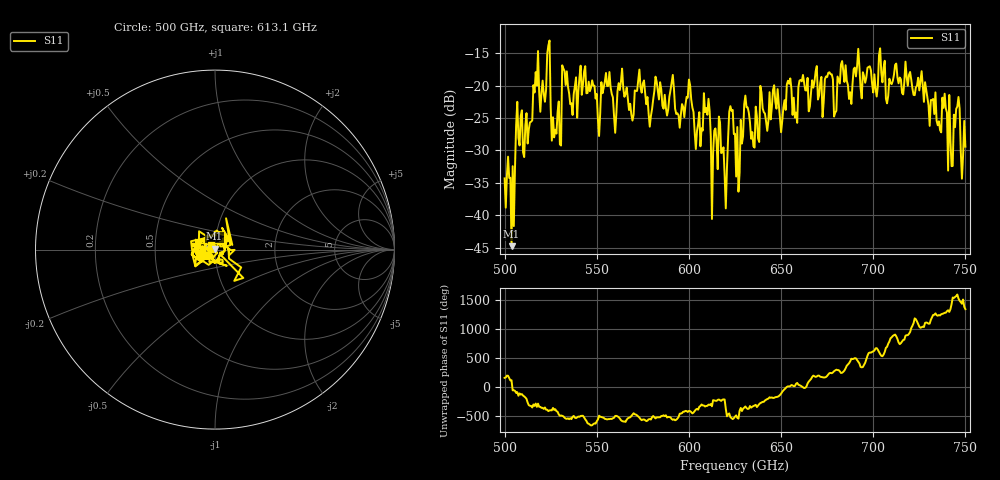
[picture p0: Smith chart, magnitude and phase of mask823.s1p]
!Created with skrf (http://scikit-rf.org).
# GHz S MA R 50.0
!freq magS11 angS11
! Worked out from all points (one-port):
!   401 points, 500 GHz to 750 GHz, reference 50 ohm
!   lowest |S11| = -44.8 dB at 503.8 GHz (marker M1), VSWR 1.01, Z = 49.8 + j0.525 ohm
!   |S11| at or under -10 dB: start of sweep to end of sweep
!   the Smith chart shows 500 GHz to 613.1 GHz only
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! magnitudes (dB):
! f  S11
! 500 GHz  -34.3
! 503.8 GHz  -44.8
! 507.5 GHz  -28.1
! 513.8 GHz  -25.7
! 516.9 GHz  -17.9
! 523.8 GHz  -13.8
! 526.9 GHz  -28.0
! 531.2 GHz  -16.9
! 542.5 GHz  -19.8
! 550.6 GHz  -25.2
! 555.6 GHz  -20.1
! 559.4 GHz  -24.7
! 562.5 GHz  -20.7
! 568.8 GHz  -24.4
! 590.6 GHz  -19.5
! 593.8 GHz  -24.3
! 609.4 GHz  -23.5
! 619.4 GHz  -33.9
! 622.5 GHz  -23.2
! 625 GHz  -27.4
! 626.2 GHz  -26.4
! 631.2 GHz  -23.3
! 634.4 GHz  -27.2
! 656.2 GHz  -24.5
! 687.5 GHz  -21.0
! 691.2 GHz  -16.9
! 718.8 GHz  -20.0
! 750 GHz  -29.4
